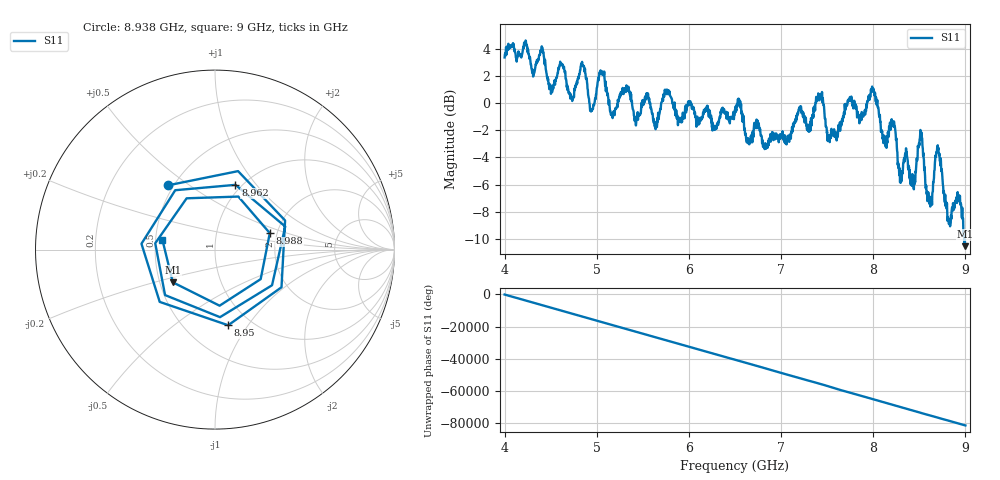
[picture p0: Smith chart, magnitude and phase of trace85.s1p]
! Created with skrf 1.8.0 (http://scikit-rf.org).
# Hz S RI R 50.0
!freq ReS11 ImS11
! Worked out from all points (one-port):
!   1601 points, 4 GHz to 9 GHz, reference 50 ohm
!   lowest |S11| = -10.5 dB at 8.997 GHz (marker M1), VSWR 1.85, Z = 29.2 - j11.7 ohm
!   |S11| at or under -10 dB: 8.988466 GHz to end of sweep
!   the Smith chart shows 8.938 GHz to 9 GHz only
!   S11 on the Smith chart (normalised r, x): 8.938 GHz: 0.47, +0.42; 8.95 GHz: 0.79, -0.81; 8.962 GHz: 0.94, +0.79; 8.988 GHz: 1.83, +0.37; 9 GHz: 0.54, +0.07
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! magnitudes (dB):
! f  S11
! 4 GHz  3.3
! 4.625 GHz  2.9
! 4.728 GHz  0.4
! 4.85 GHz  2.8
! 4.944 GHz  -0.5
! 5.05 GHz  2.2
! 5.169 GHz  -0.9
! 5.25 GHz  0.6
! 5.875 GHz  -1.0
! 6.5 GHz  -0.5
! 7.125 GHz  -1.8
! 7.419 GHz  0.4
! 7.594 GHz  -2.3
! 7.75 GHz  0.2
! 8 GHz  0.9
! 8.122 GHz  -2.7
! 8.375 GHz  -4.3
! 8.438 GHz  -6.2
! 8.519 GHz  -2.7
! 8.612 GHz  -6.9
! 8.7 GHz  -3.1
! 8.822 GHz  -8.9
! 8.938 GHz  -7.1
! 8.95 GHz  -7.4
! 8.962 GHz  -8.4
! 8.988 GHz  -9.9
! 8.997 GHz  -10.5
! 9 GHz  -10.5
